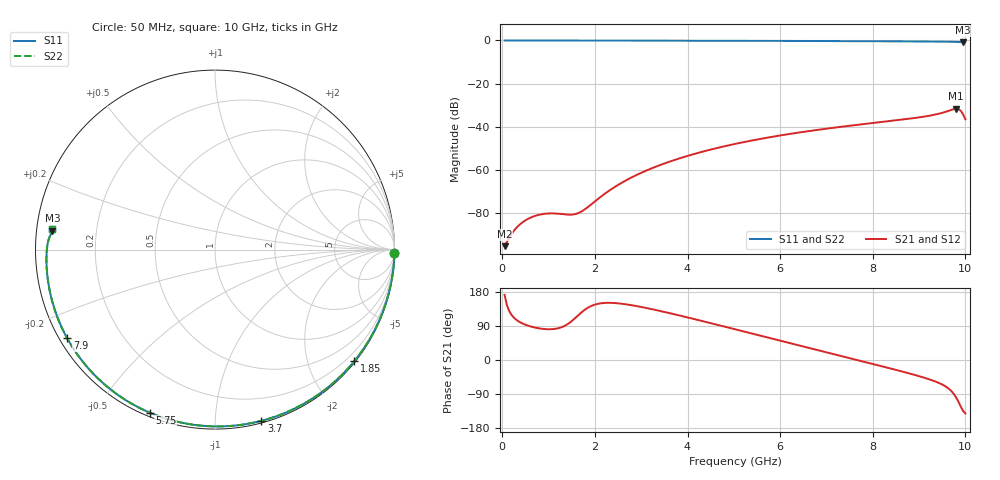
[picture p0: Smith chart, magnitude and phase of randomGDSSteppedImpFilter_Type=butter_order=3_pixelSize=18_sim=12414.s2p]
! freq	dB(S11)	phase(S11)	dB(S12)	phase(S12)
!  dB(S21)	phase(S21)	dB(S22)	phase(S22)
!S-par simulation data
#  GHz  S  DB  R 50
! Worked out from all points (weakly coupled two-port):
!   200 points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, 50 MHz to 10 GHz, reference 50 ohm
!   highest |S21| = -31.65 dB at 9.8 GHz (marker M1); lowest = -95.4 dB at 50 MHz (marker M2)
!   lowest |S11| = -0.8 dB at 9.95 GHz (marker M3), VSWR 21.85, Z = 2.3 + j2.91 ohm
!   |S11| at or under -10 dB: nowhere
!   |S22| runs from -0.8 to 0.0 dB; largest |S21 - S12| = 0
!   S11 on the Smith chart (normalised r, x): 50 MHz: open; 1.85 GHz: 0.03, -2.85; 3.7 GHz: 0.02, -1.31; 5.75 GHz: 0.02, -0.68; 7.9 GHz: 0.02, -0.28; 10 GHz: 0.05, +0.06
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0.05  -0.00 -1.1  -95.41 171.8  -95.41 171.8  -0.00 -1.1
0.8  -0.02 -16.9  -80.82 83.3  -80.82 83.3  -0.02 -16.9
1.65  -0.04 -34.5  -79.99 119.1  -79.99 119.1  -0.04 -34.5
1.75  -0.05 -36.6  -78.80 129.7  -78.80 129.7  -0.05 -36.6
1.85  -0.05 -38.6  -77.24 138.1  -77.24 138.1  -0.05 -38.6
2.25  -0.06 -46.7  -70.53 150.8  -70.53 150.8  -0.06 -46.7
2.55  -0.07 -52.6  -66.35 148.9  -66.35 148.9  -0.07 -52.6
2.95  -0.08 -60.5  -61.87 141.2  -61.87 141.2  -0.08 -60.5
3.4  -0.09 -69.2  -57.84 129.6  -57.84 129.6  -0.09 -69.2
3.7  -0.10 -74.8  -55.56 121.2  -55.56 121.2  -0.10 -74.8
4.35  -0.12 -86.9  -51.43 101.9  -51.43 101.9  -0.12 -86.9
5.05  -0.15 -99.5  -47.87 80.4  -47.87 80.4  -0.15 -99.5
5.75  -0.19 -111.9  -44.97 58.7  -44.97 58.7  -0.19 -111.9
6.7  -0.25 -128.3  -41.79 29.4  -41.79 29.4  -0.25 -128.3
7.9  -0.35 -149.1  -38.55 -7.2  -38.55 -7.2  -0.35 -149.0
8.35  -0.40 -157.0  -37.43 -21.2  -37.43 -21.2  -0.40 -157.0
9.25  -0.51 -173.5  -34.80 -52.2  -34.80 -52.2  -0.51 -173.4
9.8  -0.69 175.6  -31.65 -98.9  -31.65 -98.9  -0.69 175.6
9.85  -0.74 174.7  -31.83 -110.2  -31.83 -110.2  -0.73 174.7
9.9  -0.78 174.0  -32.64 -122.8  -32.64 -122.8  -0.78 174.0
9.95  -0.80 173.3  -34.25 -134.2  -34.25 -134.2  -0.80 173.3
10  -0.79 172.6  -36.54 -141.3  -36.54 -141.3  -0.79 172.6
